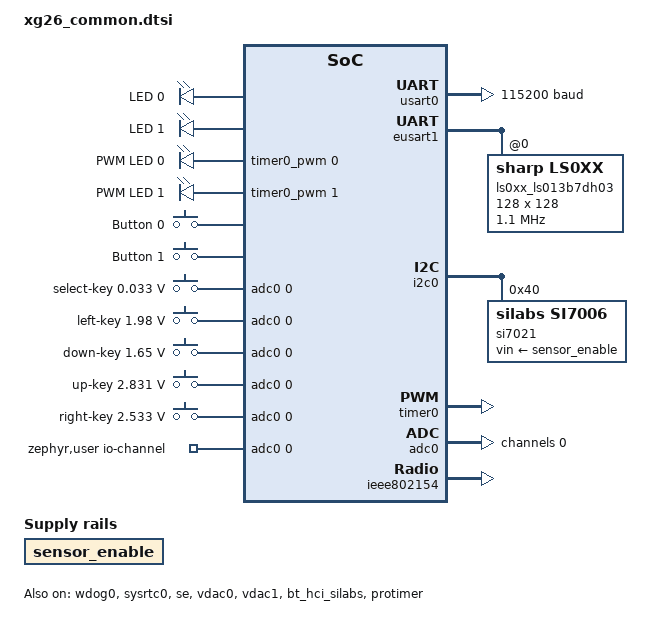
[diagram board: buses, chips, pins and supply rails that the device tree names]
/*
 * Copyright (c) 2026 Silicon Laboratories Inc.
 *
 * SPDX-License-Identifier: Apache-2.0
 */

#include <silabs/xg26/clock-lfxo.dtsi>
#include <zephyr/dt-bindings/adc/silabs-adc.h>
#include <zephyr/dt-bindings/input/input-event-codes.h>
#include <zephyr/dt-bindings/pwm/pwm.h>
#include <zephyr/dt-bindings/regulator/silabs_dcdc.h>
#include "xg26_common-pinctrl.dtsi"

/ {
	chosen {
		zephyr,bt-hci = &bt_hci_silabs;
		zephyr,code-partition = &slot0_partition;
		zephyr,console = &usart0;
		zephyr,display = &ls0xx_ls013b7dh03;
		zephyr,flash = &flash0;
		zephyr,ieee802154 = &ieee802154;
		zephyr,openthread-counter = &protimer;
		zephyr,shell-uart = &usart0;
		zephyr,sram = &sram0;
		zephyr,uart-pipe = &usart0;
	};

	aliases {
		dht0 = &si7021;
		led0 = &led0;
		led1 = &led1;
		pwm-led0 = &pwm_led0;
		pwm-led1 = &pwm_led1;
		sw0 = &button0;
		sw1 = &button1;
		watchdog0 = &wdog0;
	};

	leds {
		compatible = "gpio-leds";

		led0: led_0 {
			label = "LED 0";
		};

		led1: led_1 {
			label = "LED 1";
		};
	};

	pwmleds {
		compatible = "pwm-leds";

		pwm_led0: pwm_led_0 {
			pwms = <&timer0_pwm 0 PWM_MSEC(20) PWM_POLARITY_NORMAL>;
			label = "PWM LED 0";
		};

		pwm_led1: pwm_led_1 {
			pwms = <&timer0_pwm 1 PWM_MSEC(20) PWM_POLARITY_NORMAL>;
			label = "PWM LED 1";
		};
	};

	buttons {
		compatible = "gpio-keys";

		button0: button_0 {
			label = "Button 0";
			zephyr,code = <INPUT_KEY_0>;
		};

		button1: button_1 {
			label = "Button 1";
			zephyr,code = <INPUT_KEY_1>;
		};
	};

	joystick {
		compatible = "adc-keys";
		io-channels = <&adc0 0>;
		keyup-threshold-mv = <3300>;

		select-key {
			press-thresholds-mv = <33>;
			zephyr,code = <INPUT_KEY_ENTER>;
		};

		left-key {
			press-thresholds-mv = <1980>;
			zephyr,code = <INPUT_KEY_LEFT>;
		};

		down-key {
			press-thresholds-mv = <1650>;
			zephyr,code = <INPUT_KEY_DOWN>;
		};

		up-key {
			press-thresholds-mv = <2831>;
			zephyr,code = <INPUT_KEY_UP>;
		};

		right-key {
			press-thresholds-mv = <2533>;
			zephyr,code = <INPUT_KEY_RIGHT>;
		};
	};

	sensor_enable: sensor_enable {
		compatible = "regulator-fixed";
		regulator-name = "sensor_enable";
	};

	exp_header: exp-header {
		compatible = "silabs,exp-header";
		#gpio-cells = <2>;
		gpio-map-mask = <0xffffffff 0x0>;
		gpio-map-pass-thru = <0x0 GPIO_DT_FLAGS_MASK>;
	};

	zephyr,user {
		io-channels = <&adc0 0>;
	};
};

&itm {
	pinctrl-0 = <&itm_default>;
	pinctrl-names = "default";
};

&lfxo {
	ctune = <63>;
	precision = <50>;
};

&usart0 {
	current-speed = <115200>;
	pinctrl-0 = <&usart0_default>;
	pinctrl-names = "default";
	status = "okay";
};

&eusart1 {
	compatible = "silabs,eusart-spi";
	#address-cells = <1>;
	#size-cells = <0>;
	clock-frequency = <DT_FREQ_M(10)>;
	pinctrl-0 = <&eusart1_default>;
	pinctrl-names = "default";
	status = "okay";

	ls0xx_ls013b7dh03: ls0xx@0 {
		compatible = "sharp,ls0xx";
		reg = <0>;
		extcomin-frequency = <60>;
		height = <128>;
		spi-max-frequency = <DT_FREQ_K(1100)>;
		width = <128>;
	};
};

&i2c0 {
	pinctrl-0 = <&i2c0_default>;
	pinctrl-names = "default";
	status = "okay";

	si7021: si7021@40 {
		compatible = "silabs,si7006";
		reg = <0x40>;
		vin-supply = <&sensor_enable>;
	};
};

&timer0 {
	status = "okay";

	timer0_pwm: pwm {
		pinctrl-0 = <&timer0_default>;
		pinctrl-names = "default";
		status = "okay";
	};
};

&adc0 {
	pinctrl-0 = <&iadc0_default>;
	pinctrl-names = "default";
	#address-cells = <1>;
	#size-cells = <0>;
	status = "okay";

	channel@0 {
		reg = <0>;
		zephyr,acquisition-time = <ADC_ACQ_TIME_DEFAULT>;
		zephyr,gain = "ADC_GAIN_1";
		zephyr,reference = "ADC_REF_VDD_1";
		zephyr,resolution = <12>;
		zephyr,vref-mv = <3300>;
	};
};

&gpio {
	status = "okay";
};

&gpioa {
	status = "okay";
};

&gpiob {
	status = "okay";
};

&gpioc {
	status = "okay";
};

&gpiod {
	status = "okay";
};

&wdog0 {
	status = "okay";
};

&sysrtc0 {
	status = "okay";
};

&se {
	status = "okay";
};

&dcdc {
	regulator-boot-on;
	regulator-initial-mode = <SILABS_DCDC_MODE_BUCK>;
	silabs,pfmx-peak-current-milliamp = <100>;
	status = "okay";
};

&vdac0 {
	status = "okay";
};

&vdac1 {
	status = "okay";
};

&bt_hci_silabs {
	status = "okay";
};

&ieee802154 {
	status = "okay";
	hfxo = <&hfxo>;
	sleep-clock = <&lfxo>;
};

&protimer {
	status = "okay";
};

&flash0 {
	partitions {
		ranges;
		#address-cells = <1>;
		#size-cells = <1>;

		/* Reserve 48 KiB for the bootloader */
		boot_partition: partition@0 {
			compatible = "zephyr,mapped-partition";
			reg = <0x00000000 DT_SIZE_K(48)>;
			label = "mcuboot";
			read-only;
		};

		/* Reserve 1560 KiB for the application in slot 0 */
		slot0_partition: partition@c000 {
			compatible = "zephyr,mapped-partition";
			reg = <0x0000c000 DT_SIZE_K(1560)>;
			label = "image-0";
		};

		/* Reserve 1560 KiB for the application in slot 1 */
		slot1_partition: partition@192000 {
			compatible = "zephyr,mapped-partition";
			reg = <0x00192000 DT_SIZE_K(1560)>;
			label = "image-1";
		};

		/* Set 32 KiB of storage at the end of the 3200 KiB of flash */
		storage_partition: partition@318000 {
			compatible = "zephyr,mapped-partition";
			reg = <0x00318000 DT_SIZE_K(32)>;
			label = "storage";
		};
	};
};
